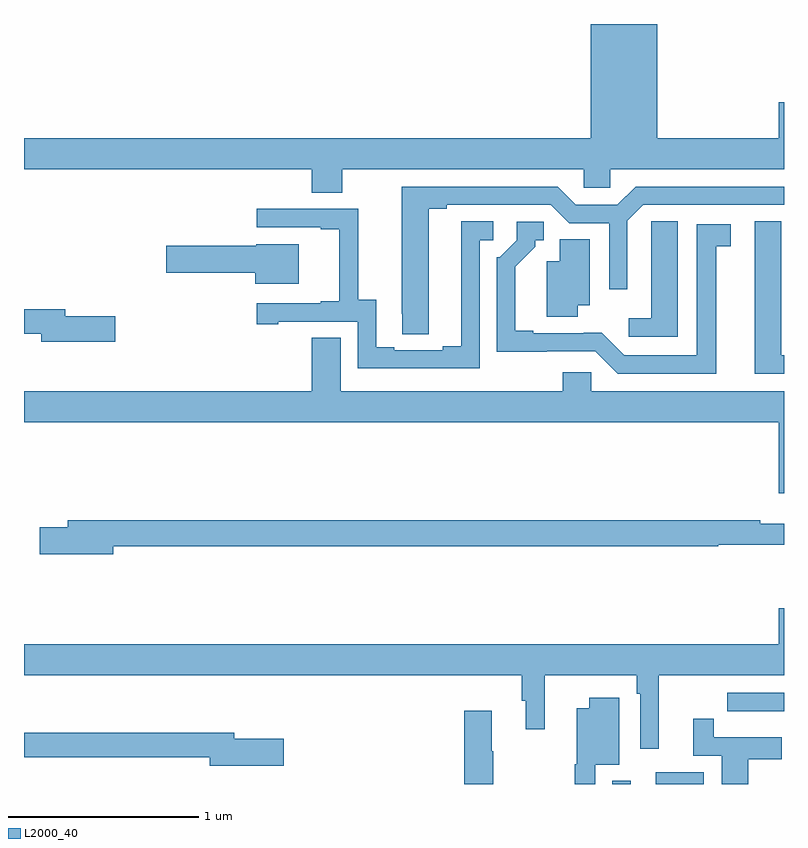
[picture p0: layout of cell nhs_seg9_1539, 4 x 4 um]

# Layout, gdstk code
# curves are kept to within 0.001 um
import gdstk
lib = gdstk.Library(unit=1e-6, precision=1e-09)
def R(c, l, rs):  # rectangles x0, y0, x1, y1
    for r in rs: c.add(gdstk.rectangle(r[:2], r[2:], *l))
def P(c, l, *ps):  # polygons
    for p in ps: c.add(gdstk.Polygon(p, *l))
L2000_40 = (2000, 40)

nhs_seg9_1539 = lib.new_cell('nhs_seg9_1539')
R(nhs_seg9_1539, L2000_40, [(200.097,1210.5,200.194,1210.516), (200.324,1210.5,200.578,1210.561)])
P(nhs_seg9_1539, L2000_40, [(198.675,1213.736),(199.947,1213.736),(199.947,1213.638),(200.085,1213.638),(200.085,1213.736),(201,1213.736),(201,1214.089),(200.972,1214.089),(200.972,1213.9),(200.332,1213.9),(200.332,1214.5),(199.982,1214.5),(199.982,1213.9),(197,1213.9),(197,1213.736),(198.515,1213.736),(198.515,1213.612),(198.675,1213.612)],
  [(199.129,1213.528),(199.225,1213.528),(199.225,1213.548),(199.773,1213.548),(199.869,1213.452),(200.079,1213.452),(200.079,1213.104),(200.175,1213.104),(200.175,1213.464),(200.259,1213.548),(201,1213.548),(201,1213.644),(200.219,1213.644),(200.123,1213.548),(199.905,1213.548),(199.809,1213.644),(198.989,1213.644),(198.99,1212.868),(199.129,1212.868)],
  [(199.398,1213.362),(199.471,1213.362),(199.471,1213.463),(199.301,1213.463),(199.301,1212.803),(199.205,1212.803),(199.205,1212.783),(198.949,1212.783),(198.949,1212.798),(198.853,1212.798),(198.853,1213.049),(198.759,1213.049),(198.759,1213.527),(198.225,1213.527),(198.225,1213.431),(198.563,1213.431),(198.563,1213.419),(198.659,1213.419),(198.659,1213.042),(198.563,1213.042),(198.563,1213.029),(198.225,1213.029),(198.225,1212.921),(198.337,1212.921),(198.337,1212.933),(198.756,1212.933),(198.756,1212.687),(199.398,1212.687)],
  [(200.44,1213.463),(200.301,1213.463),(200.301,1213.355),(200.3,1213.355),(200.3,1212.952),(200.184,1212.952),(200.184,1212.855),(200.44,1212.855)],
  [(201,1212.756),(200.986,1212.756),(200.986,1213.462),(200.846,1213.462),(200.846,1212.66),(201,1212.66)],
  [(200.644,1213.33),(200.719,1213.33),(200.719,1213.446),(200.54,1213.446),(200.54,1212.756),(200.16,1212.756),(200.042,1212.874),(199.681,1212.873),(199.681,1212.886),(199.585,1212.886),(199.585,1213.222),(199.69,1213.327),(199.69,1213.362),(199.735,1213.362),(199.735,1213.458),(199.593,1213.458),(199.593,1213.362),(199.503,1213.272),(199.488,1213.272),(199.488,1212.776),(200.007,1212.777),(200.124,1212.66),(200.644,1212.66)],
  [(199.915,1213.019),(199.978,1213.019),(199.978,1213.367),(199.82,1213.367),(199.82,1213.252),(199.751,1213.252),(199.751,1212.958),(199.915,1212.958)],
  [(198.445,1213.342),(198.222,1213.342),(198.222,1213.332),(197.748,1213.332),(197.748,1213.19),(198.218,1213.19),(198.218,1213.133),(198.445,1213.133)],
  [(197.479,1212.962),(197.218,1212.962),(197.218,1212.998),(197,1212.998),(197,1212.87),(197.09,1212.87),(197.09,1212.827),(197.479,1212.827)],
  [(201,1212.568),(199.986,1212.568),(199.986,1212.666),(199.835,1212.666),(199.835,1212.568),(198.667,1212.568),(198.667,1212.848),(198.515,1212.848),(198.515,1212.568),(197,1212.568),(197,1212.404),(200.972,1212.404),(200.972,1212.03),(201,1212.03)],
  [(197.47,1211.752),(200.655,1211.752),(200.655,1211.76),(201,1211.76),(201,1211.869),(200.876,1211.869),(200.876,1211.888),(197.231,1211.888),(197.231,1211.852),(197.082,1211.852),(197.082,1211.71),(197.47,1211.71)],
  [(200.342,1211.072),(201,1211.072),(201,1211.425),(200.972,1211.425),(200.972,1211.236),(197,1211.236),(197,1211.072),(199.621,1211.072),(199.621,1210.938),(199.64,1210.938),(199.64,1210.788),(199.74,1210.788),(199.74,1211.072),(200.224,1211.072),(200.224,1210.976),(200.244,1210.976),(200.244,1210.686),(200.342,1210.686)],
  [(200.978,1210.884),(201,1210.884),(201,1210.98),(200.7,1210.98),(200.7,1210.884),(200.812,1210.884),(200.812,1210.883),(200.978,1210.883)],
  [(200.007,1210.601),(200.134,1210.601),(200.134,1210.954),(199.976,1210.954),(199.976,1210.9),(199.91,1210.9),(199.91,1210.605),(199.899,1210.605),(199.899,1210.5),(200.007,1210.5)],
  [(199.47,1210.672),(199.462,1210.672),(199.462,1210.885),(199.316,1210.885),(199.316,1210.5),(199.47,1210.5)],
  [(200.812,1210.63),(200.989,1210.63),(200.989,1210.746),(200.63,1210.746),(200.63,1210.843),(200.522,1210.843),(200.522,1210.65),(200.672,1210.65),(200.672,1210.5),(200.812,1210.5)],
  [(198.367,1210.737),(198.106,1210.737),(198.106,1210.771),(197,1210.771),(197,1210.642),(197.978,1210.642),(197.978,1210.595),(198.367,1210.595)])

lib.write_gds('nhs_seg9_1539.gds')
